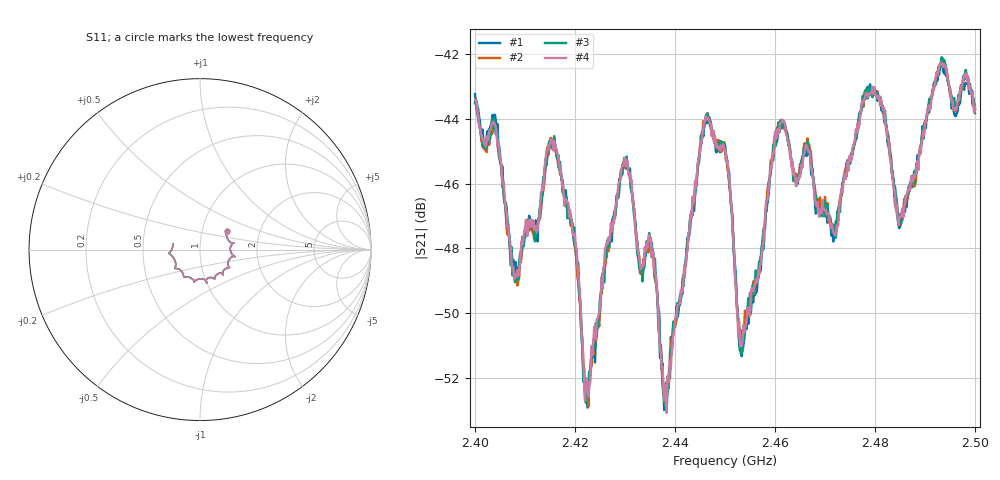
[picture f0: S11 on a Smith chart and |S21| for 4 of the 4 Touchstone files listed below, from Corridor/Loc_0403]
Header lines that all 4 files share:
# Hz S RI R
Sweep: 2.4 GHz to 2.5 GHz
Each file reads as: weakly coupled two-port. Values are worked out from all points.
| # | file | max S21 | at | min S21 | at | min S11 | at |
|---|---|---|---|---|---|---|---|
| 1 | Lab_139_2Ch1.s2p | -42.25 dB | 2.4935 GHz | -53.0 dB | 2.4383 GHz | -15.9 dB | 2.49 GHz |
| 2 | Lab_139_6Ch1.s2p | -42.12 dB | 2.4935 GHz | -52.9 dB | 2.4227 GHz | -15.9 dB | 2.49 GHz |
| 3 | Lab_139_7Ch1.s2p | -42.11 dB | 2.4933 GHz | -52.9 dB | 2.4382 GHz | -15.9 dB | 2.4898 GHz |
| 4 | Lab_139_9Ch1.s2p | -42.27 dB | 2.4932 GHz | -53.1 dB | 2.4383 GHz | -15.9 dB | 2.49 GHz |
